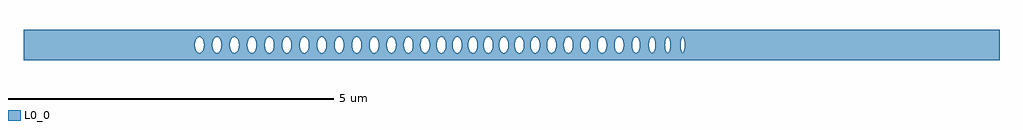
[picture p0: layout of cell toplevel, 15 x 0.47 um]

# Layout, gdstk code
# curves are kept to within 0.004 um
import gdstk
lib = gdstk.Library(unit=1e-6, precision=1e-09)
def P(c, l, *ps):  # polygons
    for p in ps: c.add(gdstk.Polygon(p, *l))
L0_0 = (0, 0)

toplevel = lib.new_cell('toplevel')
P(toplevel, L0_0, [(-4.313,-0.235),(-4.313,-0.079),(-4.329,-0.008),(-4.327,0.031),(-4.313,0.079),(-4.313,0.235),(-7.5,0.235),(-7.5,-0.008),(-4.866,-0.008),(-4.864,0.031),(-4.85,0.079),(-4.829,0.109),(-4.8,0.124),(-4.769,0.115),(-4.744,0.085),(-4.728,0.038),(-4.725,-0.016),(-4.597,-0.016),(-4.594,0.038),(-4.584,0.073),(-4.561,0.109),(-4.531,0.124),(-4.505,0.118),(-4.475,0.085),(-4.461,0.046),(-4.456,0),(-4.461,-0.046),(-4.475,-0.085),(-4.493,-0.109),(-4.522,-0.124),(-4.549,-0.118),(-4.572,-0.096),(-4.589,-0.06),(-4.597,-0.016),(-4.725,-0.016),(-4.738,-0.073),(-4.75,-0.096),(-4.774,-0.118),(-4.8,-0.124),(-4.829,-0.109),(-4.847,-0.085),(-4.861,-0.046),(-4.866,-0.008),(-7.5,-0.008),(-7.5,-0.235)],
  [(-3.791,0.016),(-3.783,0.06),(-3.766,0.096),(-3.743,0.118),(-3.712,0.123),(-3.712,0.235),(-4.313,0.235),(-4.313,0.079),(-4.296,0.105),(-4.272,0.122),(-4.245,0.122),(-4.224,0.109),(-4.197,0.06),(-4.188,-0.016),(-4.06,-0.016),(-4.057,0.038),(-4.047,0.073),(-4.024,0.109),(-3.994,0.124),(-3.968,0.118),(-3.938,0.085),(-3.924,0.046),(-3.919,0),(-3.924,-0.046),(-3.938,-0.085),(-3.956,-0.109),(-3.985,-0.124),(-4.012,-0.118),(-4.035,-0.096),(-4.052,-0.06),(-4.06,-0.016),(-4.188,-0.016),(-4.207,-0.085),(-4.224,-0.109),(-4.245,-0.122),(-4.263,-0.124),(-4.28,-0.118),(-4.313,-0.079),(-4.313,-0.235),(-3.712,-0.235),(-3.712,-0.123),(-3.743,-0.118),(-3.773,-0.085),(-3.79,-0.031)],
  [(-3.254,0.016),(-3.236,0.085),(-3.218,0.109),(-3.197,0.122),(-3.171,0.122),(-3.15,0.109),(-3.123,0.06),(-3.123,0.235),(-3.712,0.235),(-3.712,0.123),(-3.687,0.109),(-3.664,0.073),(-3.654,0.038),(-3.651,-0.016),(-3.523,-0.016),(-3.52,0.038),(-3.51,0.073),(-3.487,0.109),(-3.457,0.124),(-3.431,0.118),(-3.408,0.096),(-3.391,0.06),(-3.382,0.008),(-3.387,-0.046),(-3.401,-0.085),(-3.419,-0.109),(-3.448,-0.124),(-3.475,-0.118),(-3.498,-0.096),(-3.515,-0.06),(-3.523,-0.016),(-3.651,-0.016),(-3.664,-0.073),(-3.676,-0.096),(-3.712,-0.123),(-3.712,-0.235),(-3.123,-0.235),(-3.123,-0.06),(-3.139,-0.096),(-3.158,-0.115),(-3.18,-0.124),(-3.206,-0.118),(-3.229,-0.096),(-3.244,-0.066),(-3.254,-0.023)],
  [(-3.116,-0.031),(-3.123,-0.06),(-3.123,-0.235),(-2.441,-0.235),(-2.441,-0.06),(-2.449,-0.016),(-2.441,0.059),(-2.441,0.235),(-3.123,0.235),(-3.123,0.059),(-3.114,-0.016),(-2.986,-0.016),(-2.983,0.038),(-2.973,0.073),(-2.95,0.109),(-2.92,0.124),(-2.894,0.118),(-2.864,0.085),(-2.85,0.046),(-2.845,-0.008),(-2.718,-0.008),(-2.713,0.046),(-2.692,0.096),(-2.66,0.122),(-2.625,0.118),(-2.602,0.096),(-2.59,0.073),(-2.58,0.038),(-2.577,-0.016),(-2.596,-0.085),(-2.613,-0.109),(-2.634,-0.122),(-2.665,-0.12),(-2.692,-0.096),(-2.709,-0.06),(-2.718,-0.008),(-2.845,-0.008),(-2.85,-0.046),(-2.864,-0.085),(-2.882,-0.109),(-2.911,-0.124),(-2.938,-0.118),(-2.961,-0.096),(-2.978,-0.06),(-2.986,-0.016),(-3.114,-0.016)],
  [(-1.915,0.016),(-1.897,0.085),(-1.876,0.112),(-1.854,0.123),(-1.854,0.235),(-2.441,0.235),(-2.441,0.06),(-2.413,0.109),(-2.392,0.122),(-2.366,0.122),(-2.341,0.105),(-2.324,0.079),(-2.313,0.046),(-2.309,-0.016),(-2.181,-0.016),(-2.178,0.038),(-2.162,0.085),(-2.133,0.118),(-2.106,0.124),(-2.077,0.109),(-2.06,0.085),(-2.045,0.046),(-2.04,0),(-2.045,-0.046),(-2.06,-0.085),(-2.077,-0.109),(-2.106,-0.124),(-2.133,-0.118),(-2.156,-0.096),(-2.173,-0.06),(-2.181,-0.016),(-2.309,-0.016),(-2.327,-0.085),(-2.345,-0.109),(-2.374,-0.124),(-2.392,-0.122),(-2.413,-0.109),(-2.441,-0.06),(-2.441,-0.235),(-1.854,-0.235),(-1.854,-0.123),(-1.883,-0.105),(-1.903,-0.073),(-1.914,-0.031)],
  [(-1.841,0.124),(-1.812,0.109),(-1.794,0.085),(-1.78,0.046),(-1.775,-0.008),(-1.655,-0.008),(-1.65,0.046),(-1.633,0.09),(-1.606,0.118),(-1.589,0.124),(-1.571,0.122),(-1.55,0.109),(-1.527,0.073),(-1.517,0.038),(-1.514,-0.008),(-1.519,-0.046),(-1.539,-0.096),(-1.558,-0.115),(-1.58,-0.124),(-1.606,-0.118),(-1.633,-0.09),(-1.65,-0.046),(-1.655,-0.008),(-1.775,-0.008),(-1.784,-0.06),(-1.801,-0.096),(-1.824,-0.118),(-1.854,-0.123),(-1.854,-0.235),(-1.274,-0.235),(-1.274,-0.079),(-1.307,-0.118),(-1.324,-0.124),(-1.35,-0.118),(-1.374,-0.096),(-1.386,-0.073),(-1.399,-0.016),(-1.39,0.06),(-1.363,0.109),(-1.342,0.122),(-1.315,0.122),(-1.291,0.105),(-1.274,0.079),(-1.274,0.235),(-1.854,0.235),(-1.854,0.123)],
  [(-1.26,-0.031),(-1.274,-0.079),(-1.274,-0.235),(-0.663,-0.235),(-0.663,0.235),(-1.274,0.235),(-1.274,0.079),(-1.26,0.031),(-1.259,-0.016),(-1.149,-0.016),(-1.146,0.038),(-1.136,0.073),(-1.113,0.109),(-1.083,0.124),(-1.057,0.118),(-1.03,0.09),(-1.013,0.046),(-1.008,0),(-0.905,0),(-0.9,0.046),(-0.879,0.096),(-0.856,0.118),(-0.825,0.123),(-0.789,0.096),(-0.772,0.06),(-0.764,0.016),(-0.772,-0.06),(-0.789,-0.096),(-0.812,-0.118),(-0.843,-0.123),(-0.872,-0.105),(-0.896,-0.06),(-0.905,0),(-1.008,0),(-1.013,-0.046),(-1.027,-0.085),(-1.045,-0.109),(-1.074,-0.124),(-1.1,-0.118),(-1.124,-0.096),(-1.136,-0.073),(-1.149,-0.016),(-1.259,-0.016)],
  [(-0.187,0.031),(-0.176,0.073),(-0.156,0.105),(-0.156,0.235),(-0.663,0.235),(-0.663,0.023),(-0.651,0.073),(-0.639,0.096),(-0.615,0.118),(-0.589,0.124),(-0.56,0.109),(-0.539,0.079),(-0.525,0.031),(-0.524,-0.016),(-0.426,-0.016),(-0.423,0.038),(-0.407,0.085),(-0.378,0.118),(-0.351,0.124),(-0.322,0.109),(-0.304,0.085),(-0.29,0.046),(-0.285,0),(-0.29,-0.046),(-0.304,-0.085),(-0.322,-0.109),(-0.351,-0.124),(-0.378,-0.118),(-0.401,-0.096),(-0.418,-0.06),(-0.426,-0.016),(-0.524,-0.016),(-0.528,-0.046),(-0.545,-0.09),(-0.56,-0.109),(-0.589,-0.124),(-0.615,-0.118),(-0.639,-0.096),(-0.651,-0.073),(-0.663,-0.023),(-0.663,-0.235),(-0.156,-0.235),(-0.156,-0.105),(-0.176,-0.073),(-0.186,-0.038)],
  [(0.295,0.016),(0.31,0.079),(0.331,0.109),(0.352,0.122),(0.369,0.124),(0.402,0.105),(0.402,0.235),(-0.156,0.235),(-0.156,0.105),(-0.123,0.124),(-0.105,0.122),(-0.081,0.105),(-0.064,0.079),(-0.053,0.046),(-0.049,-0.016),(0.05,-0.016),(0.053,0.038),(0.063,0.073),(0.086,0.109),(0.116,0.124),(0.142,0.118),(0.169,0.09),(0.186,0.046),(0.191,0.008),(0.189,-0.031),(0.175,-0.079),(0.154,-0.109),(0.125,-0.124),(0.099,-0.118),(0.075,-0.096),(0.063,-0.073),(0.05,-0.016),(-0.049,-0.016),(-0.064,-0.079),(-0.085,-0.109),(-0.105,-0.122),(-0.123,-0.124),(-0.156,-0.105),(-0.156,-0.235),(0.402,-0.235),(0.402,-0.105),(0.369,-0.124),(0.347,-0.12),(0.327,-0.105),(0.31,-0.079),(0.299,-0.046)],
  [(0.402,0.235),(0.402,0.105),(0.426,0.06),(0.435,-0.008),(0.546,-0.008),(0.548,0.031),(0.562,0.079),(0.583,0.109),(0.612,0.124),(0.638,0.118),(0.662,0.096),(0.674,0.073),(0.687,0.016),(0.684,-0.038),(0.674,-0.073),(0.651,-0.109),(0.621,-0.124),(0.595,-0.118),(0.568,-0.09),(0.551,-0.046),(0.546,-0.008),(0.435,-0.008),(0.422,-0.073),(0.402,-0.105),(0.402,-0.235),(0.944,-0.235),(0.944,-0.016),(0.936,-0.06),(0.919,-0.096),(0.896,-0.118),(0.878,-0.124),(0.852,-0.118),(0.829,-0.096),(0.812,-0.06),(0.804,-0.016),(0.807,0.038),(0.817,0.073),(0.836,0.105),(0.865,0.123),(0.892,0.12),(0.919,0.096),(0.936,0.06),(0.944,0.016),(0.944,0.235)],
  [(1.585,0.023),(1.603,0.085),(1.603,0.235),(0.944,0.235),(0.944,-0.016),(1.063,-0.016),(1.066,0.038),(1.076,0.073),(1.099,0.109),(1.129,0.124),(1.155,0.118),(1.185,0.085),(1.199,0.046),(1.203,-0.016),(1.322,-0.016),(1.325,0.038),(1.335,0.073),(1.358,0.109),(1.388,0.124),(1.414,0.118),(1.441,0.09),(1.458,0.046),(1.463,0.008),(1.461,-0.031),(1.447,-0.079),(1.426,-0.109),(1.397,-0.124),(1.371,-0.118),(1.347,-0.096),(1.335,-0.073),(1.322,-0.016),(1.203,-0.016),(1.185,-0.085),(1.167,-0.109),(1.138,-0.124),(1.111,-0.118),(1.088,-0.096),(1.071,-0.06),(1.063,-0.016),(0.944,-0.016),(0.944,-0.235),(1.603,-0.235),(1.603,-0.085),(1.587,-0.038)],
  [(1.609,0.096),(1.632,0.118),(1.65,0.124),(1.667,0.122),(1.688,0.109),(1.716,0.06),(1.724,-0.015),(1.853,-0.015),(1.857,0.045),(1.872,0.09),(1.898,0.119),(1.925,0.121),(1.949,0.1),(1.965,0.066),(1.974,-0.015),(1.967,-0.059),(1.955,-0.09),(1.943,-0.108),(1.917,-0.123),(1.895,-0.117),(1.872,-0.09),(1.86,-0.059),(1.853,-0.015),(1.724,-0.015),(1.72,-0.046),(1.705,-0.085),(1.688,-0.109),(1.667,-0.122),(1.632,-0.118),(1.603,-0.085),(1.603,-0.235),(2.197,-0.235),(2.197,-0.089),(2.172,-0.12),(2.146,-0.116),(2.125,-0.084),(2.112,-0.023),(2.116,0.052),(2.138,0.107),(2.153,0.12),(2.172,0.12),(2.197,0.089),(2.197,0.235),(1.603,0.235),(1.603,0.085)],
  [(2.212,-0.023),(2.197,-0.089),(2.197,-0.235),(7.5,-0.235),(7.5,0.235),(2.197,0.235),(2.197,0.089),(2.208,0.052),(2.213,-0.008),(2.359,-0.008),(2.37,0.083),(2.38,0.106),(2.397,0.121),(2.415,0.113),(2.43,0.083),(2.439,0.037),(2.44,-0.015),(2.6,-0.015),(2.608,0.082),(2.619,0.112),(2.629,0.12),(2.637,0.118),(2.649,0.097),(2.661,0.03),(2.656,-0.071),(2.646,-0.105),(2.633,-0.12),(2.619,-0.112),(2.611,-0.092),(2.6,-0.015),(2.44,-0.015),(2.43,-0.083),(2.42,-0.106),(2.403,-0.121),(2.385,-0.113),(2.37,-0.083),(2.359,-0.008),(2.213,-0.008)])

lib.write_gds('toplevel.gds')
